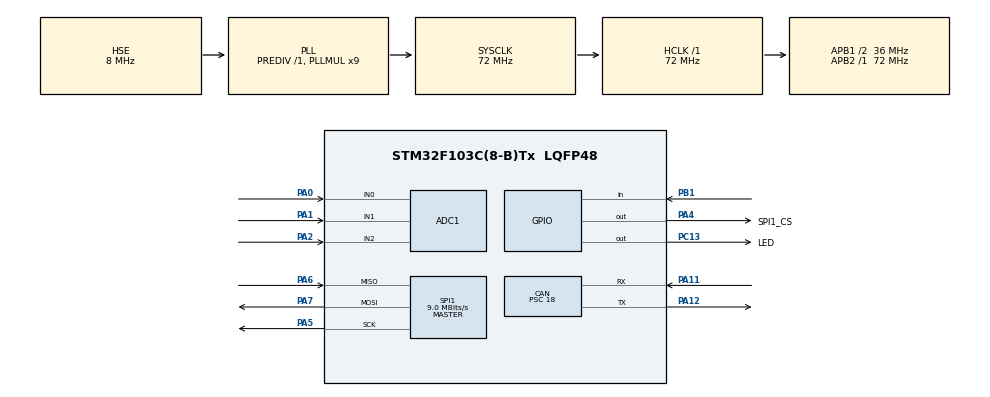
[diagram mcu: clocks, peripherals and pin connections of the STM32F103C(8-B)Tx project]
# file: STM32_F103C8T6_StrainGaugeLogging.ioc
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ADC1.Channel-0\#ChannelRegularConversion=ADC_CHANNEL_0
ADC1.ContinuousConvMode=ENABLE
ADC1.NbrOfConversionFlag=1
ADC1.Rank-0\#ChannelRegularConversion=1
ADC1.SamplingTime-0\#ChannelRegularConversion=ADC_SAMPLETIME_1CYCLE_5
ADC1.master=1
CAN.BS1=CAN_BS1_2TQ
CAN.BS2=CAN_BS2_2TQ
CAN.CalculateBaudRate=400000
CAN.CalculateTimeBit=2500
CAN.CalculateTimeQuantum=500.0
CAN.Prescaler=18
FATFS._MAX_SS=4096
FATFS._USE_LFN=1
Mcu.Family=STM32F1
Mcu.Name=STM32F103C(8-B)Tx
Mcu.Package=LQFP48
NVIC.PriorityGroup=NVIC_PRIORITYGROUP_4
NVIC.USB_LP_CAN1_RX0_IRQn=true\:0\:0\:false\:false\:true\:true\:true\:true
PA0-WKUP.Signal=ADCx_IN0
PA1.Signal=ADCx_IN1
PA11.Mode=CAN_Activate
PA11.Signal=CAN_RX
PA12.Mode=CAN_Activate
PA12.Signal=CAN_TX
PA13.Mode=Serial_Wire
PA13.Signal=SYS_JTMS-SWDIO
PA14.Mode=Serial_Wire
PA14.Signal=SYS_JTCK-SWCLK
PA2.Signal=ADCx_IN2
PA4.GPIO_Label=SPI1_CS
PA4.Signal=GPIO_Output
PA5.Mode=Full_Duplex_Master
PA5.Signal=SPI1_SCK
PA6.Mode=Full_Duplex_Master
PA6.Signal=SPI1_MISO
PA7.Mode=Full_Duplex_Master
PA7.Signal=SPI1_MOSI
PB1.Signal=GPIO_Input
PC13-TAMPER-RTC.GPIO_Label=LED
PC13-TAMPER-RTC.PinState=GPIO_PIN_SET
PC13-TAMPER-RTC.Signal=GPIO_Output
PD0-OSC_IN.Mode=HSE-External-Oscillator
PD0-OSC_IN.Signal=RCC_OSC_IN
PD1-OSC_OUT.Mode=HSE-External-Oscillator
PD1-OSC_OUT.Signal=RCC_OSC_OUT
ProjectManager.HeapSize=0x200
ProjectManager.StackSize=0x400
ProjectManager.TargetToolchain=STM32CubeIDE
RCC.ADCPresc=RCC_ADCPCLK2_DIV6
RCC.AHBFreq_Value=72000000
RCC.APB1CLKDivider=RCC_HCLK_DIV2
RCC.APB1Freq_Value=36000000
RCC.APB1TimFreq_Value=72000000
RCC.APB2Freq_Value=72000000
RCC.APB2TimFreq_Value=72000000
RCC.HCLKFreq_Value=72000000
RCC.PLLMUL=RCC_PLL_MUL9
RCC.PLLSourceVirtual=RCC_PLLSOURCE_HSE
RCC.SYSCLKFreq_VALUE=72000000
RCC.SYSCLKSource=RCC_SYSCLKSOURCE_PLLCLK
RCC.USBFreq_Value=72000000
SH.ADCx_IN0.0=ADC1_IN0,IN0
SH.ADCx_IN1.0=ADC1_IN1,IN1
SH.ADCx_IN2.0=ADC1_IN2,IN2
SPI1.BaudRatePrescaler=SPI_BAUDRATEPRESCALER_8
SPI1.CalculateBaudRate=9.0 MBits/s
SPI1.Direction=SPI_DIRECTION_2LINES
SPI1.Mode=SPI_MODE_MASTER
SPI1.VirtualType=VM_MASTER
VP_FATFS_VS_Generic.Mode=User_defined
board=custom

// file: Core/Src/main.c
/* USER CODE BEGIN Header */
/**
  ******************************************************************************
  * @file           : main.c
  * @brief          : Main program body
  ******************************************************************************
  * @attention
  *
  * Copyright (c) 2024 STMicroelectronics.
  * All rights reserved.
  *
  * This software is licensed under terms that can be found in the LICENSE file
  * in the root directory of this software component.
  * If no LICENSE file comes with this software, it is provided AS-IS.
  *
  ******************************************************************************
  */
/* USER CODE END Header */
#include "main.h"
#include "fatfs.h"

/* USER CODE BEGIN PD */
//FATFS
FATFS fs;
FIL fil;
UINT bw;

// Button Input
#define BUTTON_GPIO_PORT GPIOB
#define BUTTON_PIN GPIO_PIN_1

#define LED_GPIO_Port GPIOC
#define LED_Pin GPIO_PIN_13

/* USER CODE END PD */

ADC_HandleTypeDef hadc1;

CAN_HandleTypeDef hcan;

SPI_HandleTypeDef hspi1;

void SystemClock_Config(void);
static void MX_GPIO_Init(void);
static void MX_CAN_Init(void);
static void MX_SPI1_Init(void);
static void MX_ADC1_Init(void);

/* USER CODE BEGIN 0 */

CAN_TxHeaderTypeDef TxHeader;
CAN_RxHeaderTypeDef RxHeader;

uint8_t TxData0[8]; // Frame 1: timeH, timeL, Sensor 1, Sensor 2
uint8_t TxData1[8]; // Frame 2: timeH, timeL, Sensor 3
uint32_t TxMailbox;

//Analog Data Log
float data0;
float data1;
float data2;

//TimeTracking
uint32_t start_time;
uint32_t elapsed_time;

void Write_To_SD(uint32_t time, float data0, float data1, float data2) {
	  char buffer[128];
	  f_mount(&fs, "", 0);
	  f_open(&fil, "DataLog.txt", FA_OPEN_ALWAYS | FA_WRITE | FA_READ);
	  f_lseek(&fil, fil.fsize);
	  sprintf(buffer, "time(ms): [%lu], sensor 1(V): [%.2f], sensor 2(V): [%.2f], sensor 3(V): [%.2f]\n", time, data0, data1, data2);
	  f_puts(buffer, &fil);
	  f_close(&fil);
	  HAL_Delay(10);
}

float Read_Sensor0(void){
	ADC_ChannelConfTypeDef sConfig = {0};

	sConfig.Channel = ADC_CHANNEL_0;
	sConfig.Rank = ADC_REGULAR_RANK_1;
	HAL_ADC_ConfigChannel(&hadc1, &sConfig);
	HAL_ADC_Start(&hadc1);
	HAL_ADC_PollForConversion(&hadc1, HAL_MAX_DELAY);

	uint32_t value = HAL_ADC_GetValue(&hadc1);
	return (value * 5.0f) / 4095.0f;
}

float Read_Sensor1(void){
	ADC_ChannelConfTypeDef sConfig = {0};

	sConfig.Channel = ADC_CHANNEL_1;
	sConfig.Rank = ADC_REGULAR_RANK_1;
	HAL_ADC_ConfigChannel(&hadc1, &sConfig);
	HAL_ADC_Start(&hadc1);
	HAL_ADC_PollForConversion(&hadc1, HAL_MAX_DELAY);

	uint32_t value = HAL_ADC_GetValue(&hadc1);
	return (value * 5.0f) / 4095.0f;
}
float Read_Sensor2(void){
	ADC_ChannelConfTypeDef sConfig = {0};

	sConfig.Channel = ADC_CHANNEL_2;
	sConfig.Rank = ADC_REGULAR_RANK_1;
	HAL_ADC_ConfigChannel(&hadc1, &sConfig);
	HAL_ADC_Start(&hadc1);
	HAL_ADC_PollForConversion(&hadc1, HAL_MAX_DELAY);

	uint32_t value = HAL_ADC_GetValue(&hadc1);
	return (value * 5.0f) / 4095.0f;
}
 void Transmit_Data(uint32_t elapsed_time, float data0, float data1, float data2){
	 //Splitting elapsed time into 2 parts for can data framing
	 uint16_t time_low = elapsed_time & 0xFFFF; // first 2 bytes
	 uint16_t time_high = (elapsed_time >> 16) & 0xFFFF; // second 2 bytes

	 // Scaling data values to integer to 2 decimal places
	 int16_t data_0 = (int16_t)(data0 * 100);
	 int16_t data_1 = (int16_t)(data1 * 100);
	 int16_t data_2 = (int16_t)(data2 * 100);

	 //TxData0[] First Frame
	 memcpy(&TxData0[0], &time_low, 2);   // Bytes 0-1: Time low
	 memcpy(&TxData0[2], &time_high, 2);  // Bytes 2-3: Time high
	 memcpy(&TxData0[4], &data_0, 2);         // Bytes 4-5: Sensor 1
	 memcpy(&TxData0[6], &data_1, 2);         // Bytes 6-7: Sensor 2
	 //TxData1[] Second Frame
	 memcpy(&TxData1[0], &time_low, 2);   // Bytes 0-1: Time low
	 memcpy(&TxData1[2], &time_high, 2);  // Bytes 2-3: Time high
	 memcpy(&TxData1[4], &data_2, 2);         // Bytes 4-5: Sensor 3
	 TxData1[6] = 0;
	 TxData1[7] = 0;

	 //Sending First Frame ID: 0x123
	 TxHeader.StdId = 0x123;
	 if(HAL_CAN_AddTxMessage(&hcan, &TxHeader, TxData0, &TxMailbox) != HAL_OK){
		 printf("Can Transmission Failed (frame 1, SID: 0x123\n)");
	 }

	 //Sending Second Frame ID: 0x124
	 TxHeader.StdId = 0x124;
	 if(HAL_CAN_AddTxMessage(&hcan, &TxHeader, TxData1, &TxMailbox) != HAL_OK){
		 printf("Can Transmission Failed (frame 2, SID: 0x124\n)");
	 }

	 HAL_Delay(10);
 }
/* USER CODE END 0 */

int main(void)
{

  /* MCU Configuration--------------------------------------------------------*/

  /* Reset of all peripherals, Initializes the Flash interface and the Systick. */
  HAL_Init();

  /* Configure the system clock */
  SystemClock_Config();

  /* Initialize all configured peripherals */
  MX_GPIO_Init();
  MX_CAN_Init();
  MX_SPI1_Init();
  MX_FATFS_Init();
  MX_ADC1_Init();
  HAL_ADC_Start(&hadc1);

  /* USER CODE BEGIN 2 */

  // Start CAN
  HAL_CAN_Start(&hcan);

  // Activate the notification
  HAL_CAN_ActivateNotification(&hcan, CAN_IT_RX_FIFO0_MSG_PENDING);

  TxHeader.DLC = 8; // This is set to 2 for testing purpose
  TxHeader.IDE = CAN_ID_STD;
  TxHeader.RTR = CAN_RTR_DATA;

  // Mark the starting time
  start_time = HAL_GetTick();

  /* USER CODE END 2 */

  /* Infinite loop */
  while (1)
  {
	  elapsed_time = HAL_GetTick() - start_time;
	  data0 = Read_Sensor0();
	  data1 = Read_Sensor1();
	  data2 = Read_Sensor2();
	  Write_To_SD(elapsed_time, data0, data1, data2);
	  Transmit_Data(elapsed_time, data0, data1, data2);
  }
}

void SystemClock_Config(void)
{
  RCC_OscInitTypeDef RCC_OscInitStruct = {0};
  RCC_ClkInitTypeDef RCC_ClkInitStruct = {0};
  RCC_PeriphCLKInitTypeDef PeriphClkInit = {0};

  /** Initializes the RCC Oscillators according to the specified parameters
  * in the RCC_OscInitTypeDef structure.
  */
  RCC_OscInitStruct.OscillatorType = RCC_OSCILLATORTYPE_HSE;
  RCC_OscInitStruct.HSEState = RCC_HSE_ON;
  RCC_OscInitStruct.HSEPredivValue = RCC_HSE_PREDIV_DIV1;
  RCC_OscInitStruct.HSIState = RCC_HSI_ON;
  RCC_OscInitStruct.PLL.PLLState = RCC_PLL_ON;
  RCC_OscInitStruct.PLL.PLLSource = RCC_PLLSOURCE_HSE;
  RCC_OscInitStruct.PLL.PLLMUL = RCC_PLL_MUL9;
  if (HAL_RCC_OscConfig(&RCC_OscInitStruct) != HAL_OK)
  {
    Error_Handler();
  }

  /** Initializes the CPU, AHB and APB buses clocks
  */
  RCC_ClkInitStruct.ClockType = RCC_CLOCKTYPE_HCLK|RCC_CLOCKTYPE_SYSCLK
                              |RCC_CLOCKTYPE_PCLK1|RCC_CLOCKTYPE_PCLK2;
  RCC_ClkInitStruct.SYSCLKSource = RCC_SYSCLKSOURCE_PLLCLK;
  RCC_ClkInitStruct.AHBCLKDivider = RCC_SYSCLK_DIV1;
  RCC_ClkInitStruct.APB1CLKDivider = RCC_HCLK_DIV2;
  RCC_ClkInitStruct.APB2CLKDivider = RCC_HCLK_DIV1;

  if (HAL_RCC_ClockConfig(&RCC_ClkInitStruct, FLASH_LATENCY_2) != HAL_OK)
  {
    Error_Handler();
  }
  PeriphClkInit.PeriphClockSelection = RCC_PERIPHCLK_ADC;
  PeriphClkInit.AdcClockSelection = RCC_ADCPCLK2_DIV6;
  if (HAL_RCCEx_PeriphCLKConfig(&PeriphClkInit) != HAL_OK)
  {
    Error_Handler();
  }
}

static void MX_ADC1_Init(void)
{

  ADC_ChannelConfTypeDef sConfig = {0};

  /** Common config
  */
  hadc1.Instance = ADC1;
  hadc1.Init.ScanConvMode = ADC_SCAN_DISABLE;
  hadc1.Init.ContinuousConvMode = ENABLE;
  hadc1.Init.DiscontinuousConvMode = DISABLE;
  hadc1.Init.ExternalTrigConv = ADC_SOFTWARE_START;
  hadc1.Init.DataAlign = ADC_DATAALIGN_RIGHT;
  hadc1.Init.NbrOfConversion = 1;
  if (HAL_ADC_Init(&hadc1) != HAL_OK)
  {
    Error_Handler();
  }

  /** Configure Regular Channel
  */
  sConfig.Channel = ADC_CHANNEL_0;
  sConfig.Rank = ADC_REGULAR_RANK_1;
  sConfig.SamplingTime = ADC_SAMPLETIME_1CYCLE_5;
  if (HAL_ADC_ConfigChannel(&hadc1, &sConfig) != HAL_OK)
  {
    Error_Handler();
  }

}

static void MX_CAN_Init(void)
{

  hcan.Instance = CAN1;
  hcan.Init.Prescaler = 18;
  hcan.Init.Mode = CAN_MODE_NORMAL;
  hcan.Init.SyncJumpWidth = CAN_SJW_1TQ;
  hcan.Init.TimeSeg1 = CAN_BS1_2TQ;
  hcan.Init.TimeSeg2 = CAN_BS2_2TQ;
  hcan.Init.TimeTriggeredMode = DISABLE;
  hcan.Init.AutoBusOff = DISABLE;
  hcan.Init.AutoWakeUp = DISABLE;
  hcan.Init.AutoRetransmission = DISABLE;
  hcan.Init.ReceiveFifoLocked = DISABLE;
  hcan.Init.TransmitFifoPriority = DISABLE;
  if (HAL_CAN_Init(&hcan) != HAL_OK)
  {
    Error_Handler();
  }
  /* USER CODE BEGIN CAN_Init 2 */

  //CAN Filter
  CAN_FilterTypeDef canfilterconfig;

  canfilterconfig.FilterActivation = CAN_FILTER_ENABLE;
  canfilterconfig.FilterBank = 10;
  canfilterconfig.FilterFIFOAssignment = CAN_FILTER_FIFO0;
  canfilterconfig.FilterIdHigh = 0x103<<5;
  canfilterconfig.FilterIdLow = 0;
  canfilterconfig.FilterMaskIdHigh = 0x103<<5;
  canfilterconfig.FilterMaskIdLow = 0x0000;
  canfilterconfig.FilterMode = CAN_FILTERMODE_IDMASK;
  canfilterconfig.FilterScale = CAN_FILTERSCALE_32BIT;
  canfilterconfig.SlaveStartFilterBank = 0;

  HAL_CAN_ConfigFilter(&hcan, &canfilterconfig);
  /* USER CODE END CAN_Init 2 */

}

static void MX_SPI1_Init(void)
{

  /* SPI1 parameter configuration*/
  hspi1.Instance = SPI1;
  hspi1.Init.Mode = SPI_MODE_MASTER;
  hspi1.Init.Direction = SPI_DIRECTION_2LINES;
  hspi1.Init.DataSize = SPI_DATASIZE_8BIT;
  hspi1.Init.CLKPolarity = SPI_POLARITY_LOW;
  hspi1.Init.CLKPhase = SPI_PHASE_1EDGE;
  hspi1.Init.NSS = SPI_NSS_SOFT;
  hspi1.Init.BaudRatePrescaler = SPI_BAUDRATEPRESCALER_8;
  hspi1.Init.FirstBit = SPI_FIRSTBIT_MSB;
  hspi1.Init.TIMode = SPI_TIMODE_DISABLE;
  hspi1.Init.CRCCalculation = SPI_CRCCALCULATION_DISABLE;
  hspi1.Init.CRCPolynomial = 10;
  if (HAL_SPI_Init(&hspi1) != HAL_OK)
  {
    Error_Handler();
  }

}

static void MX_GPIO_Init(void)
{
  GPIO_InitTypeDef GPIO_InitStruct = {0};

  /* GPIO Ports Clock Enable */
  __HAL_RCC_GPIOC_CLK_ENABLE();
  __HAL_RCC_GPIOD_CLK_ENABLE();
  __HAL_RCC_GPIOA_CLK_ENABLE();
  __HAL_RCC_GPIOB_CLK_ENABLE();

  /*Configure GPIO pin Output Level */
  HAL_GPIO_WritePin(LED_GPIO_Port, LED_Pin, GPIO_PIN_SET);

  /*Configure GPIO pin Output Level */
  HAL_GPIO_WritePin(SPI1_CS_GPIO_Port, SPI1_CS_Pin, GPIO_PIN_RESET);

  /*Configure GPIO pin : LED_Pin */
  GPIO_InitStruct.Pin = LED_Pin;
  GPIO_InitStruct.Mode = GPIO_MODE_OUTPUT_PP;
  GPIO_InitStruct.Pull = GPIO_NOPULL;
  GPIO_InitStruct.Speed = GPIO_SPEED_FREQ_LOW;
  HAL_GPIO_Init(LED_GPIO_Port, &GPIO_InitStruct);

  /*Configure GPIO pin : SPI1_CS_Pin */
  GPIO_InitStruct.Pin = SPI1_CS_Pin;
  GPIO_InitStruct.Mode = GPIO_MODE_OUTPUT_PP;
  GPIO_InitStruct.Pull = GPIO_NOPULL;
  GPIO_InitStruct.Speed = GPIO_SPEED_FREQ_LOW;
  HAL_GPIO_Init(SPI1_CS_GPIO_Port, &GPIO_InitStruct);

  /*Configure GPIO pin : PB1 */
  GPIO_InitStruct.Pin = GPIO_PIN_1;
  GPIO_InitStruct.Mode = GPIO_MODE_INPUT;
  GPIO_InitStruct.Pull = GPIO_NOPULL;
  HAL_GPIO_Init(GPIOB, &GPIO_InitStruct);

}

void Error_Handler(void)
{
  __disable_irq();
  while (1)
  {
  }
}
